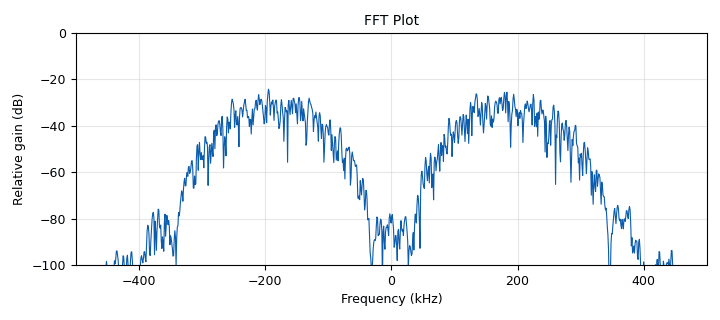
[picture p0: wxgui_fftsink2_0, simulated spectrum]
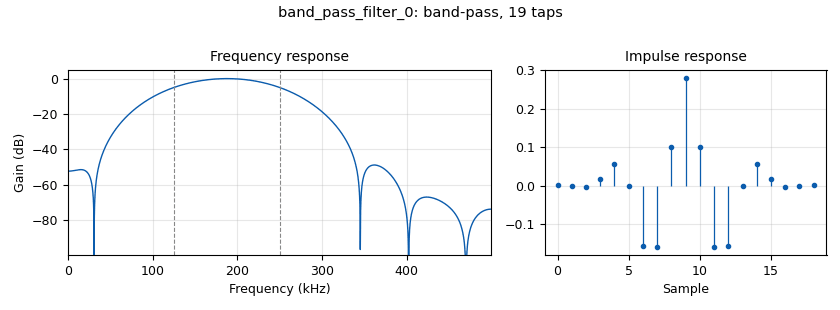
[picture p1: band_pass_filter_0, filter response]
<?xml version='1.0' encoding='utf-8'?>
<?grc format='1' created='3.7.7'?>
<flow_graph>
<block>
<key>options</key>
<param><key>id</key><value>top_block</value></param>
<param><key>generate_options</key><value>wx_gui</value></param>
<param><key>category</key><value>Custom</value></param>
</block>
<block>
<key>variable</key>
<param><key>id</key><value>samp_rate</value></param>
<param><key>value</key><value>1e6</value></param>
</block>
<block>
<key>variable_slider</key>
<param><key>id</key><value>Trans_width</value></param>
<param><key>label</key><value></value></param>
<param><key>value</key><value>samp_rate/8</value></param>
<param><key>min</key><value>samp_rate/1000</value></param>
<param><key>max</key><value>samp_rate/2</value></param>
<param><key>num_steps</key><value>1000</value></param>
<param><key>style</key><value>wx.SL_HORIZONTAL</value></param>
<param><key>converver</key><value>float_converter</value></param>
</block>
<block>
<key>low_pass_filter</key>
<param><key>id</key><value>low_pass_filter_0</value></param>
<param><key>_enabled</key><value>False</value></param>
<param><key>type</key><value>fir_filter_ccf</value></param>
<param><key>decim</key><value>1</value></param>
<param><key>gain</key><value>1</value></param>
<param><key>samp_rate</key><value>samp_rate</value></param>
<param><key>cutoff_freq</key><value>cutoff_freq</value></param>
<param><key>width</key><value>Trans_width</value></param>
<param><key>win</key><value>firdes.WIN_HAMMING</value></param>
</block>
<block>
<key>analog_noise_source_x</key>
<param><key>id</key><value>analog_noise_source_x_0</value></param>
<param><key>type</key><value>complex</value></param>
<param><key>noise_type</key><value>analog.GR_GAUSSIAN</value></param>
<param><key>amp</key><value>1</value></param>
<param><key>seed</key><value>0</value></param>
</block>
<block>
<key>variable_slider</key>
<param><key>id</key><value>baseband_freq</value></param>
<param><key>label</key><value></value></param>
<param><key>value</key><value>500</value></param>
<param><key>min</key><value>0</value></param>
<param><key>max</key><value>500e3</value></param>
<param><key>num_steps</key><value>1000</value></param>
<param><key>style</key><value>wx.SL_HORIZONTAL</value></param>
<param><key>converver</key><value>float_converter</value></param>
</block>
<block>
<key>blocks_throttle</key>
<param><key>id</key><value>blocks_throttle_0</value></param>
<param><key>type</key><value>complex</value></param>
<param><key>samples_per_second</key><value>samp_rate</value></param>
</block>
<block>
<key>wxgui_fftsink2</key>
<param><key>id</key><value>wxgui_fftsink2_0</value></param>
<param><key>type</key><value>complex</value></param>
<param><key>title</key><value>FFT Plot</value></param>
<param><key>samp_rate</key><value>samp_rate</value></param>
<param><key>baseband_freq</key><value>baseband_freq</value></param>
<param><key>y_per_div</key><value>10</value></param>
<param><key>y_divs</key><value>10</value></param>
<param><key>ref_level</key><value>0</value></param>
<param><key>ref_scale</key><value>2.0</value></param>
<param><key>fft_size</key><value>1024</value></param>
<param><key>fft_rate</key><value>15</value></param>
<param><key>peak_hold</key><value>False</value></param>
<param><key>average</key><value>False</value></param>
<param><key>avg_alpha</key><value>0</value></param>
<param><key>win</key><value>None</value></param>
<param><key>freqvar</key><value>None</value></param>
</block>
<block>
<key>high_pass_filter</key>
<param><key>id</key><value>high_pass_filter_0</value></param>
<param><key>_enabled</key><value>False</value></param>
<param><key>type</key><value>fir_filter_ccf</value></param>
<param><key>decim</key><value>1</value></param>
<param><key>gain</key><value>1</value></param>
<param><key>samp_rate</key><value>samp_rate</value></param>
<param><key>cutoff_freq</key><value>cutoff_freq</value></param>
<param><key>width</key><value>Trans_width</value></param>
<param><key>win</key><value>firdes.WIN_HAMMING</value></param>
</block>
<block>
<key>variable_slider</key>
<param><key>id</key><value>cutoff_freq</value></param>
<param><key>label</key><value></value></param>
<param><key>value</key><value>samp_rate/8</value></param>
<param><key>min</key><value>samp_rate/1000</value></param>
<param><key>max</key><value>samp_rate/2</value></param>
<param><key>num_steps</key><value>1000</value></param>
<param><key>style</key><value>wx.SL_HORIZONTAL</value></param>
<param><key>converver</key><value>float_converter</value></param>
</block>
<block>
<key>variable_slider</key>
<param><key>id</key><value>cutoff_freq_high</value></param>
<param><key>label</key><value></value></param>
<param><key>value</key><value>2*samp_rate/8</value></param>
<param><key>min</key><value>samp_rate/1000</value></param>
<param><key>max</key><value>samp_rate/2</value></param>
<param><key>num_steps</key><value>1000</value></param>
<param><key>style</key><value>wx.SL_HORIZONTAL</value></param>
<param><key>converver</key><value>float_converter</value></param>
</block>
<block>
<key>band_pass_filter</key>
<param><key>id</key><value>band_pass_filter_0</value></param>
<param><key>type</key><value>fir_filter_ccf</value></param>
<param><key>decim</key><value>1</value></param>
<param><key>gain</key><value>1</value></param>
<param><key>samp_rate</key><value>samp_rate</value></param>
<param><key>low_cutoff_freq</key><value>cutoff_freq</value></param>
<param><key>high_cutoff_freq</key><value>cutoff_freq_high</value></param>
<param><key>width</key><value>Trans_width</value></param>
<param><key>win</key><value>firdes.WIN_HAMMING</value></param>
</block>
<connection><source_block_id>blocks_throttle_0</source_block_id><sink_block_id>low_pass_filter_0</sink_block_id><source_key>0</source_key><sink_key>0</sink_key></connection>
<connection><source_block_id>low_pass_filter_0</source_block_id><sink_block_id>wxgui_fftsink2_0</sink_block_id><source_key>0</source_key><sink_key>0</sink_key></connection>
<connection><source_block_id>analog_noise_source_x_0</source_block_id><sink_block_id>blocks_throttle_0</sink_block_id><source_key>0</source_key><sink_key>0</sink_key></connection>
<connection><source_block_id>blocks_throttle_0</source_block_id><sink_block_id>high_pass_filter_0</sink_block_id><source_key>0</source_key><sink_key>0</sink_key></connection>
<connection><source_block_id>high_pass_filter_0</source_block_id><sink_block_id>wxgui_fftsink2_0</sink_block_id><source_key>0</source_key><sink_key>0</sink_key></connection>
<connection><source_block_id>blocks_throttle_0</source_block_id><sink_block_id>band_pass_filter_0</sink_block_id><source_key>0</source_key><sink_key>0</sink_key></connection>
<connection><source_block_id>band_pass_filter_0</source_block_id><sink_block_id>wxgui_fftsink2_0</sink_block_id><source_key>0</source_key><sink_key>0</sink_key></connection>
</flow_graph>
